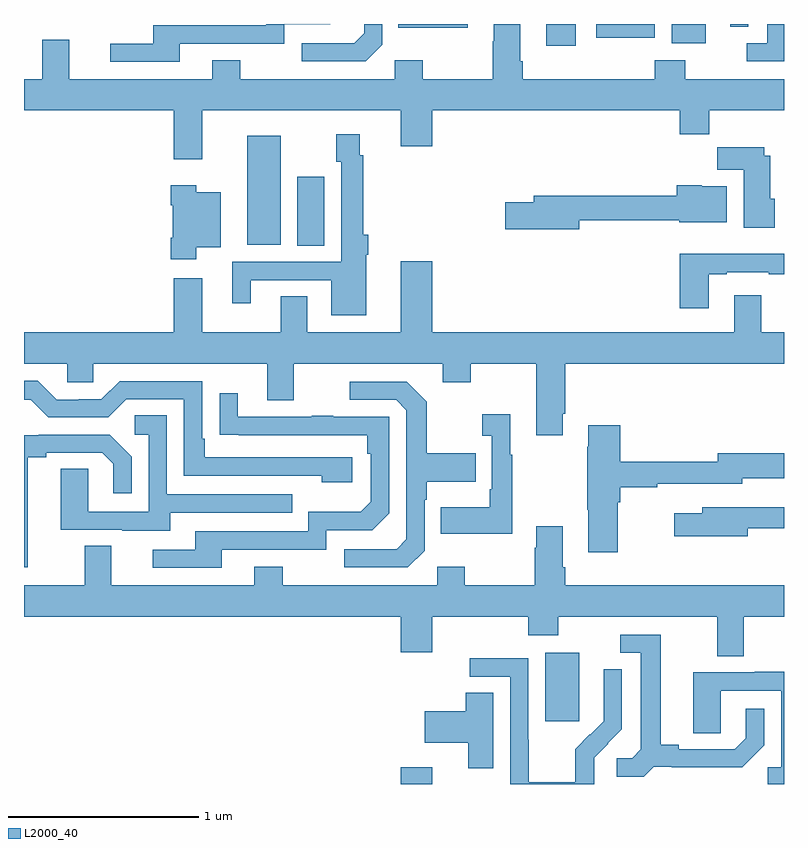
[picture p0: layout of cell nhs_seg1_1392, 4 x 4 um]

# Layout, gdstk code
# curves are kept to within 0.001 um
import gdstk
lib = gdstk.Library(unit=1e-6, precision=1e-09)
def R(c, l, rs):  # rectangles x0, y0, x1, y1
    for r in rs: c.add(gdstk.rectangle(r[:2], r[2:], *l))
def P(c, l, *ps):  # polygons
    for p in ps: c.add(gdstk.Polygon(p, *l))
L2000_40 = (2000, 40)

nhs_seg1_1392 = lib.new_cell('nhs_seg1_1392')
R(nhs_seg1_1392, L2000_40, [(188.984,536.199,189.148,536.287), (189.743,536.529,189.922,536.89), (188.438,539.032,188.581,539.395), (188.174,539.036,188.35,539.611), (189.749,540.084,189.904,540.199), (190.409,540.098,190.588,540.199), (190.011,540.127,190.32,540.199), (188.971,540.179,189.336,540.199), (190.716,540.184,190.812,540.199), (187.295,540.197,187.549,540.199)])
P(nhs_seg1_1392, L2000_40, [(191,540.199),(190.913,540.199),(190.913,540.099),(190.803,540.099),(190.803,540.003),(191,540.003)],
  [(188.886,540.09),(188.886,540.199),(188.79,540.199),(188.79,540.15),(188.739,540.099),(188.463,540.099),(188.463,540.003),(188.799,540.003)],
  [(187.819,540.096),(188.37,540.096),(188.37,540.198),(188.61,540.198),(188.611,540.199),(188.274,540.199),(188.274,540.192),(187.679,540.192),(187.679,540.096),(187.455,540.096),(187.455,540),(187.819,540)],
  [(187.939,539.744),(188.984,539.744),(188.984,539.556),(189.148,539.556),(189.148,539.744),(190.451,539.744),(190.451,539.62),(190.607,539.62),(190.607,539.744),(191,539.744),(191,539.908),(190.479,539.908),(190.479,540.007),(190.319,540.007),(190.319,539.908),(189.626,539.908),(189.626,540.004),(189.613,540.004),(189.613,540.199),(189.473,540.199),(189.473,540.107),(189.466,540.107),(189.466,539.908),(189.099,539.908),(189.099,540.007),(188.952,540.007),(188.952,539.908),(188.139,539.908),(188.139,540.007),(187.991,540.007),(187.991,539.908),(187.237,539.908),(187.237,540.116),(187.097,540.116),(187.097,539.908),(187,539.908),(187,539.744),(187.787,539.744),(187.787,539.487),(187.939,539.487)],
  [(188.8,538.985),(188.813,538.985),(188.813,539.089),(188.786,539.089),(188.786,539.507),(188.766,539.507),(188.766,539.62),(188.644,539.62),(188.644,539.475),(188.67,539.475),(188.67,538.947),(188.096,538.947),(188.096,538.728),(188.194,538.728),(188.194,538.851),(188.618,538.851),(188.618,538.667),(188.8,538.667)],
  [(190.951,539.28),(190.927,539.28),(190.927,539.506),(190.897,539.506),(190.897,539.551),(190.648,539.551),(190.648,539.432),(190.787,539.432),(190.787,539.126),(190.951,539.126)],
  [(187.906,539.024),(188.035,539.024),(188.035,539.314),(187.906,539.314),(187.906,539.35),(187.772,539.35),(187.772,539.246),(187.784,539.246),(187.784,539.074),(187.772,539.074),(187.772,538.962),(187.906,538.962)],
  [(189.922,539.167),(190.448,539.167),(190.448,539.156),(190.699,539.156),(190.699,539.344),(190.566,539.344),(190.566,539.35),(190.436,539.35),(190.436,539.296),(189.683,539.296),(189.683,539.262),(189.534,539.262),(189.534,539.12),(189.922,539.12)],
  [(190.603,538.881),(190.699,538.881),(190.699,538.893),(190.919,538.893),(190.919,538.881),(191,538.881),(191,538.99),(190.451,538.99),(190.451,538.704),(190.603,538.704)],
  [(189.835,538.147),(189.848,538.147),(189.848,538.412),(191,538.412),(191,538.576),(190.879,538.576),(190.879,538.771),(190.739,538.771),(190.739,538.576),(189.148,538.576),(189.148,538.951),(188.984,538.951),(188.984,538.576),(188.491,538.576),(188.491,538.766),(188.351,538.766),(188.351,538.576),(187.939,538.576),(187.939,538.861),(187.787,538.861),(187.787,538.576),(187,538.576),(187,538.412),(187.227,538.412),(187.227,538.314),(187.365,538.314),(187.365,538.412),(188.279,538.412),(188.279,538.218),(188.419,538.218),(188.419,538.412),(189.203,538.412),(189.203,538.313),(189.351,538.313),(189.351,538.412),(189.695,538.412),(189.695,538.035),(189.835,538.035)],
  [(188.728,537.918),(187.951,537.918),(187.951,538.015),(187.938,538.015),(187.938,538.32),(187.503,538.32),(187.407,538.224),(187.289,538.224),(187.289,538.221),(187.173,538.221),(187.073,538.321),(187,538.321),(187,538.221),(187.035,538.221),(187.128,538.128),(187.443,538.128),(187.539,538.224),(187.842,538.224),(187.842,537.822),(188.567,537.822),(188.567,537.788),(188.728,537.788)],
  [(189.108,537.426),(189.108,537.695),(189.121,537.695),(189.121,537.791),(189.377,537.791),(189.377,537.939),(189.121,537.939),(189.121,538.211),(189.015,538.317),(188.715,538.317),(188.715,538.221),(188.958,538.221),(189.012,538.167),(189.012,537.486),(188.961,537.435),(188.685,537.435),(188.685,537.339),(189.021,537.339)],
  [(188.041,537.432),(188.592,537.432),(188.592,537.534),(188.832,537.534),(188.922,537.624),(188.922,538.131),(188.627,538.131),(188.627,538.136),(188.515,538.136),(188.515,538.131),(188.125,538.131),(188.125,538.255),(188.029,538.255),(188.029,538.036),(188.806,538.035),(188.806,537.938),(188.826,537.938),(188.826,537.684),(188.773,537.631),(188.496,537.631),(188.496,537.528),(187.901,537.528),(187.901,537.432),(187.677,537.432),(187.677,537.336),(188.041,537.336)],
  [(189.571,537.931),(189.559,537.931),(189.559,538.144),(189.411,538.144),(189.411,538.031),(189.462,538.031),(189.462,537.751),(189.45,537.751),(189.45,537.655),(189.193,537.655),(189.193,537.515),(189.571,537.515)],
  [(187.771,537.627),(188.411,537.627),(188.411,537.723),(187.752,537.723),(187.752,538.139),(187.584,538.139),(187.584,538.038),(187.656,538.038),(187.656,537.633),(187.338,537.633),(187.338,537.857),(187.193,537.857),(187.193,537.537),(187.517,537.537),(187.517,537.533),(187.771,537.533)],
  [(190.126,537.683),(190.139,537.683),(190.139,537.76),(190.334,537.76),(190.334,537.78),(190.78,537.78),(190.78,537.809),(191,537.809),(191,537.939),(190.652,537.939),(190.652,537.896),(190.139,537.896),(190.139,538.087),(189.971,538.087),(189.971,537.974),(189.964,537.974),(189.964,537.643),(189.971,537.643),(189.971,537.42),(190.126,537.42)],
  [(187.021,537.92),(187.117,537.92),(187.117,537.942),(187.412,537.942),(187.469,537.885),(187.469,537.729),(187.566,537.729),(187.566,537.922),(187.45,538.038),(187.078,538.038),(187.078,538.035),(187,538.035),(187,537.339),(187.021,537.339)],
  [(190.81,537.546),(191,537.546),(191,537.655),(190.571,537.655),(190.571,537.625),(190.422,537.625),(190.422,537.503),(190.81,537.503)],
  [(190.789,537.08),(191,537.08),(191,537.244),(189.848,537.244),(189.848,537.34),(189.835,537.34),(189.835,537.556),(189.695,537.556),(189.695,537.443),(189.688,537.443),(189.688,537.244),(189.321,537.244),(189.321,537.343),(189.174,537.343),(189.174,537.244),(188.361,537.244),(188.361,537.343),(188.213,537.343),(188.213,537.244),(187.459,537.244),(187.459,537.452),(187.319,537.452),(187.319,537.244),(187,537.244),(187,537.08),(188.984,537.08),(188.984,536.892),(189.148,536.892),(189.148,537.08),(189.653,537.08),(189.653,536.981),(189.813,536.981),(189.813,537.08),(190.649,537.08),(190.649,536.872),(190.789,536.872)],
  [(190.314,536.289),(190.408,536.289),(190.408,536.286),(190.78,536.286),(190.896,536.402),(190.896,536.596),(190.799,536.596),(190.799,536.439),(190.742,536.382),(190.447,536.382),(190.447,536.405),(190.351,536.405),(190.351,536.985),(190.137,536.985),(190.137,536.889),(190.247,536.889),(190.247,536.381),(190.2,536.334),(190.119,536.334),(190.119,536.237),(190.262,536.237)],
  [(190.002,536.241),(190,536.241),(190,536.338),(190.146,536.486),(190.146,536.804),(190.05,536.804),(190.05,536.65),(190.052,536.65),(190.052,536.528),(189.981,536.457),(189.978,536.46),(189.901,536.383),(189.901,536.209),(189.657,536.209),(189.657,536.432),(189.654,536.432),(189.654,536.862),(189.345,536.862),(189.345,536.763),(189.558,536.763),(189.558,536.199),(190.002,536.199)],
  [(191,536.791),(190.847,536.791),(190.847,536.787),(190.523,536.787),(190.523,536.467),(190.668,536.467),(190.668,536.691),(190.986,536.691),(190.986,536.286),(190.914,536.286),(190.914,536.199),(191,536.199)],
  [(189.469,536.678),(189.326,536.678),(189.326,536.583),(189.108,536.583),(189.108,536.417),(189.338,536.417),(189.338,536.281),(189.469,536.281)])

lib.write_gds('nhs_seg1_1392.gds')
